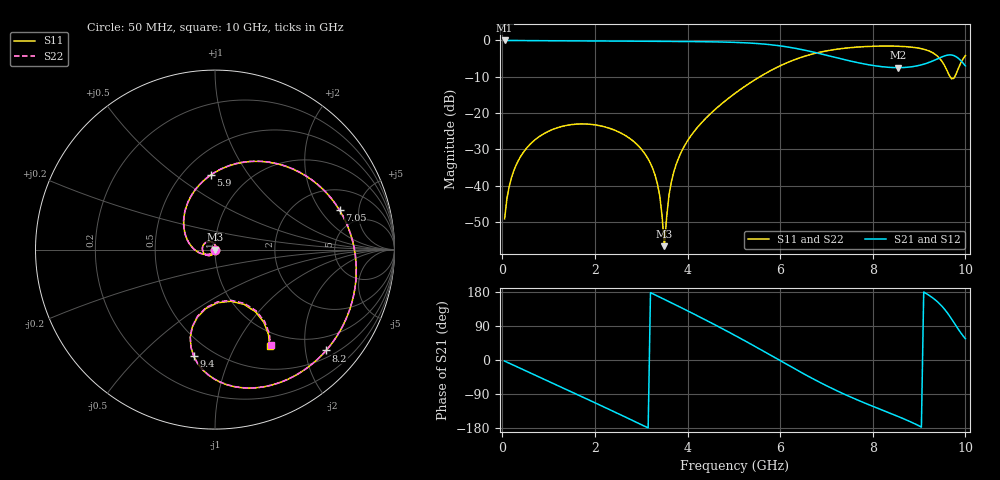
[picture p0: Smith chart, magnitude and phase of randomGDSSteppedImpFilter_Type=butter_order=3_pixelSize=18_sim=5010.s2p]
! freq	dB(S11)	phase(S11)	dB(S12)	phase(S12)
!  dB(S21)	phase(S21)	dB(S22)	phase(S22)
!S-par simulation data
#  GHz  S  DB  R 50
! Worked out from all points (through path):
!   200 points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, 50 MHz to 10 GHz, reference 50 ohm
!   highest |S21| = 0.00 dB at 50 MHz (marker M1); lowest = -7.5 dB at 8.55 GHz (marker M2)
!   group delay of S21, straight-line fit = 172 ps
!   lowest |S11| = -56.7 dB at 3.5 GHz (marker M3), VSWR 1.00, Z = 50.1 - j0.0422 ohm
!   |S11| at or under -10 dB: start of sweep to 5.56 GHz; 9.671 GHz to 9.768 GHz (96.5 MHz wide, 0.993 % of centre)
!   |S22| runs from -58.4 to -1.5 dB; largest |S21 - S12| = 0
!   S11 on the Smith chart (normalised r, x): 50 MHz: 1.00, -0.01; 5.9 GHz: 0.68, +0.68; 7.05 GHz: 3.31, +3.09; 8.2 GHz: 0.65, -2.44; 9.4 GHz: 0.40, -0.74; 10 GHz: 0.80, -1.39
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0.05  -49.11 -86.1  -0.00 -2.8  -0.00 -2.8  -49.08 -86.6
0.2  -37.72 -99.3  -0.02 -11.3  -0.02 -11.3  -37.72 -99.2
0.5  -30.05 -118.2  -0.05 -28.2  -0.05 -28.2  -30.05 -118.1
1.15  -24.20 -156.0  -0.10 -64.7  -0.10 -64.7  -24.20 -155.8
1.75  -22.99 169.7  -0.14 -98.6  -0.14 -98.6  -22.99 169.9
2.9  -28.54 102.1  -0.21 -164.6  -0.21 -164.6  -28.54 102.8
3.2  -33.87 82.9  -0.23 177.8  -0.23 177.8  -33.88 84.1
3.4  -42.80 64.9  -0.24 166.0  -0.24 166.0  -42.87 68.0
3.5  -56.65 -16.6  -0.25 160.0  -0.25 160.0  -58.36 -14.7
3.6  -42.60 -109.0  -0.26 154.0  -0.26 154.0  -42.64 -111.6
3.85  -31.13 -130.9  -0.28 138.9  -0.28 138.9  -31.13 -131.4
4.45  -20.72 -170.0  -0.37 101.9  -0.37 101.9  -20.72 -169.8
5.05  -14.33 150.9  -0.55 63.2  -0.55 63.2  -14.33 151.2
5.9  -7.61 93.1  -1.33 5.3  -1.33 5.3  -7.61 93.4
6.7  -3.73 39.2  -3.16 -49.0  -3.16 -49.0  -3.73 39.5
7.05  -2.76 17.6  -4.23 -70.8  -4.23 -70.8  -2.76 17.8
8.2  -1.55 -42.2  -7.23 -132.0  -7.23 -132.0  -1.56 -42.1
8.35  -1.55 -49.2  -7.40 -139.3  -7.40 -139.3  -1.55 -49.0
8.55  -1.60 -58.3  -7.49 -149.1  -7.49 -149.1  -1.61 -58.1
9.4  -4.37 -101.4  -5.06 153.3  -5.06 153.3  -4.39 -101.4
9.7  -10.56 -87.3  -4.00 108.7  -4.00 108.7  -10.69 -87.2
10  -4.17 -60.5  -7.01 56.1  -7.01 56.1  -4.19 -59.9
